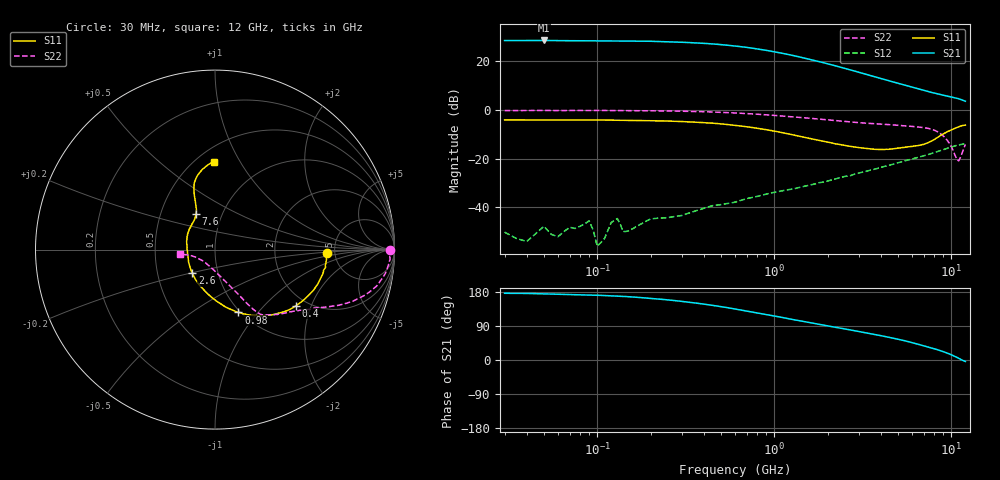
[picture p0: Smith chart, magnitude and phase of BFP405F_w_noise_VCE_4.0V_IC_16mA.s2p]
! Infineon Technologies  Discrete & RF Semiconductors
! BFP405F
! VCE =  4.0 V,  IC =  16 mA
! Common Emitter S-Parameters:  Nov 2015
# GHz  S  MA  R  50
!  f  S11  S21  S12  S22
! GHz  MAG  ANG  MAG  ANG  MAG  ANG  MAG  ANG
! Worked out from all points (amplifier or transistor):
!   239 points, 30 MHz to 12 GHz, reference 50 ohm
!   highest |S21| = 28.5 dB at 50 MHz (marker M1)
!   |S21| within 3 dB of that: start of sweep to 724.5 MHz
!   unconditionally stable (mu >= 1): 1.919 GHz to end of sweep
!   at 300 MHz: K = 0.33, MSG = 35.6 dB, |S12| = -43.3 dB
!   at 1.88 GHz: K = 0.99, MSG = 24.6 dB, |S12| = -29.7 dB
!   at 12 GHz: K = 1.37, MAG = 5.1 dB, |S12| = -13.8 dB
!   lowest NFmin = 2.03 dB at 450 MHz
!   S11 on the Smith chart (normalised r, x): 30 MHz: 4.34, -0.28; 400 MHz: 1.76, -1.57; 980 MHz: 0.98, -0.80; 2.6 GHz: 0.75, -0.21; 7.6 GHz: 0.75, +0.31; 12 GHz: 0.61, +0.78
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0.03  0.627 -1.8  26.62 176.1  0.0031 45.3  0.9727 -0.2
0.04  0.6227 -2.7  26.58 175.7  0.002 95.6  0.9727 -0.6
0.05  0.622 -4.7  26.73 174.5  0.0041 54.4  0.9798 -1.0
0.085  0.6216 -7.7  26.3 171.8  0.0046 76.9  0.9753 -2.5
0.1  0.6236 -9.0  26.18 170.9  0.0016 96.9  0.9771 -3.2
0.13  0.6167 -11.6  26.06 168.4  0.0059 84.3  0.9722 -4.2
0.14  0.6155 -12.8  26.07 167.9  0.0032 70.2  0.9736 -4.5
0.2  0.6045 -18.2  25.73 162.5  0.0058 83.7  0.9633 -6.8
0.24  0.5955 -21.6  25.22 159.5  0.0061 80.9  0.958 -8.0
0.3  0.5787 -26.6  24.62 154.7  0.0068 76.1  0.9439 -9.9
0.4  0.5494 -34.6  23.36 147.4  0.0096 83.1  0.9231 -12.7
0.6  0.4837 -48.7  20.57 134.6  0.0128 74.8  0.8682 -17.2
0.8  0.4217 -60.5  17.91 124.3  0.0168 72.3  0.8187 -20.6
0.98  0.3738 -69.5  15.87 116.8  0.0201 71.7  0.7779 -22.9
1.3  0.303 -84.1  12.93 106.0  0.0242 70.6  0.7186 -26.1
1.64  0.2538 -98.0  10.64 97.5  0.0294 71.2  0.6686 -28.9
2.1  0.2116 -116.2  8.494 88.3  0.0362 69.5  0.616 -32.8
2.6  0.1823 -133.5  6.873 80.5  0.0439 69.3  0.5733 -36.4
4.5  0.1572 174.4  3.925 59.4  0.0738 63.1  0.4988 -46.3
7.6  0.2234 118.3  2.328 32.8  0.1258 51.0  0.4096 -56.7
11  0.4523 99.0  1.701 4.3  0.1919 31.2  0.0902 -133.2
12  0.4887 90.6  1.512 -3.9  0.2035 25.4  0.1954 -172.8
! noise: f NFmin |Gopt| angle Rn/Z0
0.45  2.03  0.08  1  0.37
0.9  2.05  0.07  3  0.39
1.5  2.1  0.06  5  0.16
1.9  2.15  0.05  6  0.27
2.4  2.3  0.02  -8  0.38
3  2.38  0.02  -67  0.22
3.5  2.44  0.03  -99  0.35
4.5  2.65  0.09  -97  0.43
5.5  2.93  0.18  -88  0.16
